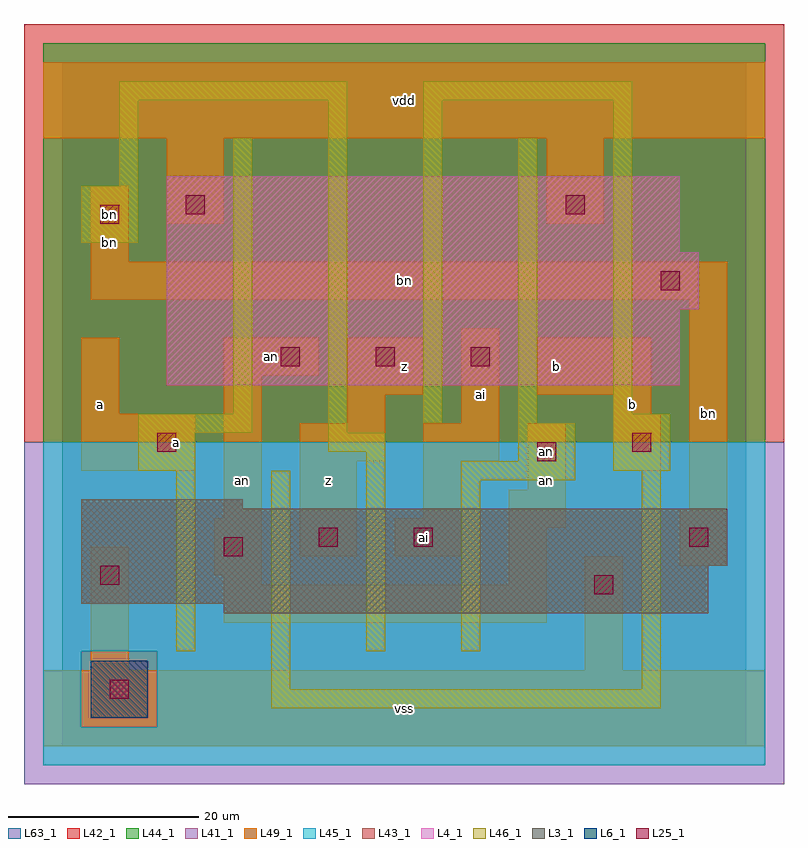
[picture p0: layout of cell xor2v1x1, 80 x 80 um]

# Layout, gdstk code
import gdstk
lib = gdstk.Library(unit=1e-6, precision=1e-09)
def R(c, l, rs):  # rectangles x0, y0, x1, y1
    for r in rs: c.add(gdstk.rectangle(r[:2], r[2:], *l))
def A(c, l, x, y, w, h, nx, ny, dx, dy):  # array of equal rectangles
    R(c, l, [(x+i*dx, y+j*dy, x+i*dx+w, y+j*dy+h) for i in range(nx) for j in range(ny)])
L3_1 = (3, 1)
L4_1 = (4, 1)
L6_1 = (6, 1)
L25_1 = (25, 1)
L41_1 = (41, 1)
L42_1 = (42, 1)
L43_1 = (43, 1)
L44_1 = (44, 1)
L45_1 = (45, 1)
L46_1 = (46, 1)
L49_1 = (49, 1)
L63_1 = (63, 1)

xor2v1x1 = lib.new_cell('xor2v1x1')
R(xor2v1x1, L3_1, [(17,14,68,15), (2,15,68,19), (2,19,70,25), (2,25,19,26)])
R(xor2v1x1, L4_1, [(11,38,65,46), (11,46,67,52), (11,52,65,60)])
R(xor2v1x1, L6_1, [(3,3,9,9), (3,3,9,9)])
A(xor2v1x1, L25_1, 23, 40, 2, 2, 3, 1, 10, 0)
R(xor2v1x1, L25_1, [(5,5,7,7), (56,16,58,18), (4,17,6,19), (17,20,19,22), (27,21,29,23), (37,21,39,23), (66,21,68,23), (50,30,52,32), (10,31,12,33), (60,31,62,33), (63,48,65,50), (4,55,6,57), (13,56,15,58), (53,56,55,58)])
R(xor2v1x1, L41_1, [(-4,-4,76,32)])
R(xor2v1x1, L42_1, [(-4,32,76,76)])
R(xor2v1x1, L43_1, [(3,3,9,9), (17,14,68,15), (2,15,68,19), (2,19,70,25), (2,25,19,26), (11,38,65,46), (11,46,67,52), (11,52,65,60)])
R(xor2v1x1, L44_1, [(2,2,10,10), (-2,32,74,74)])
R(xor2v1x1, L45_1, [(-2,-2,74,2), (-2,2,2,10), (10,2,74,10), (-2,10,74,32)])
R(xor2v1x1, L46_1, [(22,4,63,6), (22,6,24,29), (61,6,63,29), (12,10,14,29), (32,10,34,31), (42,10,44,28), (42,28,54,30), (8,29,14,33), (58,29,64,35), (48,30,54,34), (28,31,34,33), (8,33,20,35), (28,33,30,68), (38,34,40,68), (48,34,50,64), (18,35,20,64), (58,35,60,68), (2,53,8,59), (6,59,8,68), (6,68,30,70), (38,68,60,70)])
R(xor2v1x1, L49_1, [(-2,0,74,8), (3,8,7,21), (55,8,59,20), (17,13,51,17), (17,17,21,18), (47,17,51,23), (16,18,21,24), (65,19,70,25), (25,20,31,30), (35,20,42,24), (47,23,53,27), (17,24,21,39), (38,24,42,30), (66,25,70,47), (49,27,53,34), (2,29,14,35), (58,29,63,35), (25,30,34,34), (38,30,46,34), (30,34,34,37), (42,34,46,44), (2,35,6,43), (58,35,62,37), (30,37,38,43), (50,37,62,43), (17,39,27,43), (3,47,70,51), (3,51,7,59), (11,55,17,64), (51,55,57,64), (-2,64,74,72)])
R(xor2v1x1, L63_1, [(0,0,72,72)])
xor2v1x1.add(gdstk.Label('bn', (5,56), layer=49, texttype=1))
xor2v1x1.add(gdstk.Label('an', (51,31), layer=49, texttype=1))
xor2v1x1.add(gdstk.Label('a', (12,32), layer=49, texttype=1))
xor2v1x1.add(gdstk.Label('a', (4,36), layer=49, texttype=1))
xor2v1x1.add(gdstk.Label('bn', (5,53), layer=49, texttype=1))
xor2v1x1.add(gdstk.Label('z', (28,28), layer=49, texttype=1))
xor2v1x1.add(gdstk.Label('an', (19,28), layer=49, texttype=1))
xor2v1x1.add(gdstk.Label('an', (22,41), layer=49, texttype=1))
xor2v1x1.add(gdstk.Label('vss', (36,4), layer=49, texttype=1))
xor2v1x1.add(gdstk.Label('ai', (38,22), layer=49, texttype=1))
xor2v1x1.add(gdstk.Label('an', (51,28), layer=49, texttype=1))
xor2v1x1.add(gdstk.Label('b', (52,40), layer=49, texttype=1))
xor2v1x1.add(gdstk.Label('ai', (44,37), layer=49, texttype=1))
xor2v1x1.add(gdstk.Label('z', (36,40), layer=49, texttype=1))
xor2v1x1.add(gdstk.Label('vdd', (36,68), layer=49, texttype=1))
xor2v1x1.add(gdstk.Label('b', (60,36), layer=49, texttype=1))
xor2v1x1.add(gdstk.Label('bn', (68,35), layer=49, texttype=1))
xor2v1x1.add(gdstk.Label('bn', (36,49), layer=49, texttype=1))

lib.write_gds('xor2v1x1.gds')
